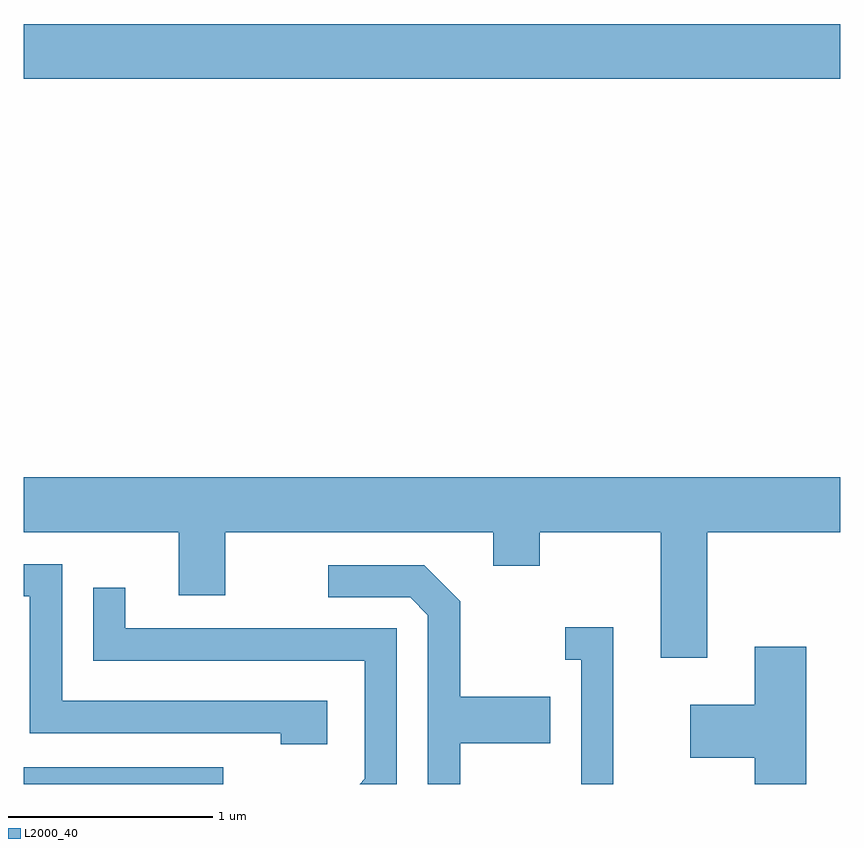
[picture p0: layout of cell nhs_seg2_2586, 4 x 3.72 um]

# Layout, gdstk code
import gdstk
lib = gdstk.Library(unit=1e-6, precision=1e-09)
def R(c, l, rs):  # rectangles x0, y0, x1, y1
    for r in rs: c.add(gdstk.rectangle(r[:2], r[2:], *l))
def P(c, l, *ps):  # polygons
    for p in ps: c.add(gdstk.Polygon(p, *l))
L2000_40 = (2000, 40)

nhs_seg2_2586 = lib.new_cell('nhs_seg2_2586')
R(nhs_seg2_2586, L2000_40, [(261.611,993.802,262.588,993.884), (261.611,997.256,265.611,997.524)])
P(nhs_seg2_2586, L2000_40, [(261.611,995.036),(262.371,995.036),(262.371,994.726),(262.599,994.726),(262.599,995.036),(263.911,995.036),(263.911,994.871),(264.139,994.871),(264.139,995.036),(264.731,995.036),(264.731,994.421),(264.959,994.421),(264.959,995.036),(265.611,995.036),(265.611,995.304),(261.611,995.304)],
  [(263.099,994.209),(261.799,994.209),(261.799,994.879),(261.611,994.879),(261.611,994.721),(261.641,994.721),(261.641,994.051),(262.871,994.051),(262.871,993.996),(263.099,993.996)],
  [(263.749,994.001),(264.189,994.001),(264.189,994.229),(263.749,994.229),(263.749,994.697),(263.572,994.874),(263.103,994.874),(263.103,994.716),(263.504,994.716),(263.591,994.629),(263.591,993.802),(263.749,993.802)],
  [(263.439,994.564),(262.109,994.564),(262.109,994.763),(261.951,994.763),(261.951,994.406),(263.281,994.406),(263.281,993.827),(263.256,993.802),(263.439,993.802)],
  [(264.499,994.569),(264.263,994.569),(264.263,994.411),(264.341,994.411),(264.341,993.802),(264.499,993.802)],
  [(265.444,994.474),(265.191,994.474),(265.191,994.189),(264.876,994.189),(264.876,993.931),(265.191,993.931),(265.191,993.802),(265.444,993.802)])

lib.write_gds('nhs_seg2_2586.gds')
